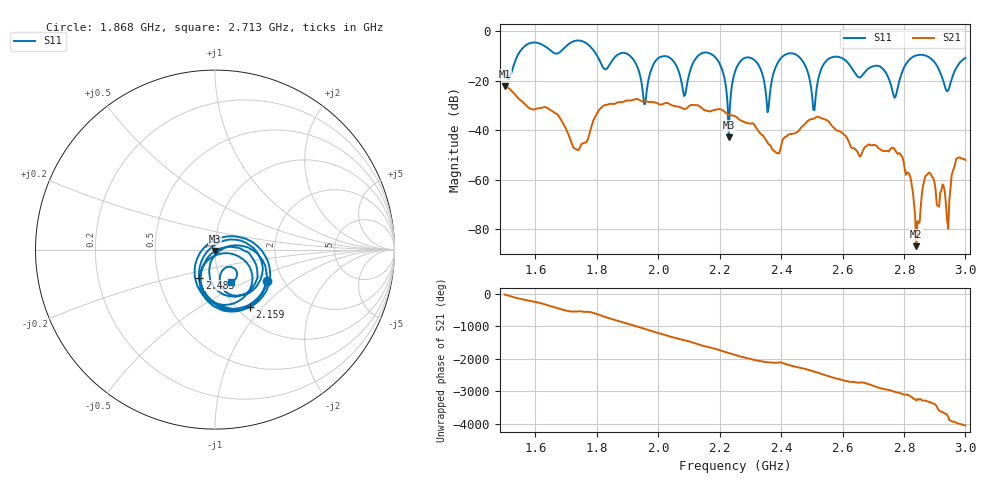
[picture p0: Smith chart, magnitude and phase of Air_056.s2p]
# HZ S RI R 50
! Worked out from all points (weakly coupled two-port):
!   404 points, 1.5 GHz to 3 GHz, reference 50 ohm
!   highest |S21| = -22.20 dB at 1.5 GHz (marker M1); lowest = -86.9 dB at 2.84 GHz (marker M2)
!   lowest |S11| = -42.9 dB at 2.23 GHz (marker M3), VSWR 1.01, Z = 50.1 - j0.716 ohm
!   |S11| at or under -10 dB: 2.182 GHz to 2.406 GHz (224 MHz wide, 9.76 % of centre); 2.456 GHz to 2.833 GHz (377.4 MHz wide, 14.3 % of centre); 2.875 GHz to end of sweep (the widest 3 of 7)
!   S12 and S22 are empty: the file has one direction only
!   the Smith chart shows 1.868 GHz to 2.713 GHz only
!   S11 on the Smith chart (normalised r, x): 1.868 GHz: 1.66, -0.66; 2.159 GHz: 1.15, -0.85; 2.483 GHz: 0.80, -0.26; 2.713 GHz: 1.11, -0.42
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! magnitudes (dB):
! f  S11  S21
! 1.5 GHz  -16.4  -22.2
! 1.753 GHz  -3.9  -45.4
! 1.868 GHz  -9.4  -28.7
! 1.958 GHz  -29.3  -28.2
! 2.002 GHz  -10.6  -29.4
! 2.084 GHz  -26.1  -31.4
! 2.159 GHz  -8.5  -32.2
! 2.23 GHz  -42.9  -33.8
! 2.252 GHz  -15.7  -34.4
! 2.315 GHz  -11.8  -38.3
! 2.356 GHz  -32.7  -44.9
! 2.386 GHz  -13.5  -49.3
! 2.483 GHz  -15.0  -36.8
! 2.501 GHz  -26.3  -35.5
! 2.561 GHz  -10.7  -37.5
! 2.713 GHz  -13.8  -46.7
! 2.751 GHz  -19.1  -48.6
! 2.792 GHz  -17.4  -50.2
! 2.84 GHz  -9.7  -86.9
! 2.877 GHz  -10.1  -57.8
! 2.94 GHz  -24.2  -76.3
! 3 GHz  -10.7  -52.1
